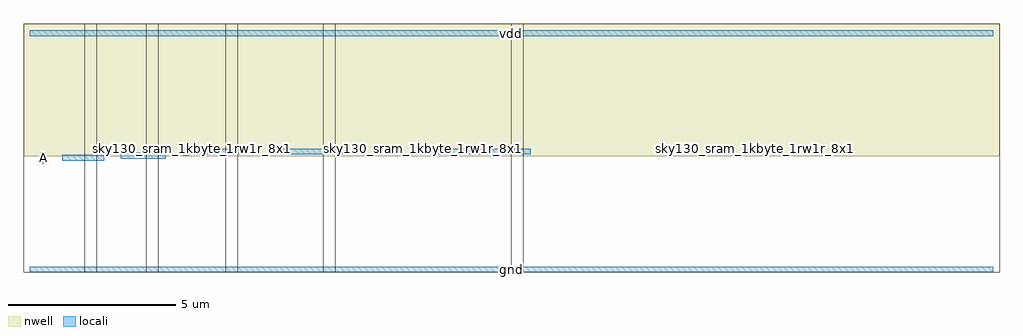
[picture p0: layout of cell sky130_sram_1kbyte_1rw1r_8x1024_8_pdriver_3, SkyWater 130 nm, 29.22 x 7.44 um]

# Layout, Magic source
magic
tech sky130A
magscale 1 2
<< nwell >>
rect -36 679 5808 1471
<< locali >>
rect 0 1397 5772 1431
rect 64 636 98 702
rect 196 652 449 686
rect 547 664 817 698
rect 919 690 1293 724
rect 1518 690 1877 724
rect 2320 690 3001 724
rect 4291 690 4325 724
rect 919 681 953 690
rect 0 -17 5772 17
use sky130_sram_1kbyte_1rw1r_8x1024_8_pinv_13  sky130_sram_1kbyte_1rw1r_8x1024_8_pinv_13_0
transform 1 0 2920 0 1 0
box -36 -17 2888 1471
use sky130_sram_1kbyte_1rw1r_8x1024_8_pinv_12  sky130_sram_1kbyte_1rw1r_8x1024_8_pinv_12_0
transform 1 0 1796 0 1 0
box -36 -17 1160 1471
use sky130_sram_1kbyte_1rw1r_8x1024_8_pinv_11  sky130_sram_1kbyte_1rw1r_8x1024_8_pinv_11_0
transform 1 0 1212 0 1 0
box -36 -17 620 1471
use sky130_sram_1kbyte_1rw1r_8x1024_8_pinv_10  sky130_sram_1kbyte_1rw1r_8x1024_8_pinv_10_0
transform 1 0 736 0 1 0
box -36 -17 512 1471
use sky130_sram_1kbyte_1rw1r_8x1024_8_pinv_0  sky130_sram_1kbyte_1rw1r_8x1024_8_pinv_0_0
transform 1 0 368 0 1 0
box -36 -17 404 1471
use sky130_sram_1kbyte_1rw1r_8x1024_8_pinv_0  sky130_sram_1kbyte_1rw1r_8x1024_8_pinv_0_1
transform 1 0 0 0 1 0
box -36 -17 404 1471
<< labels >>
rlabel locali s 4308 707 4308 707 4 Z
port 1 nsew
rlabel locali s 81 669 81 669 4 A
port 2 nsew
rlabel locali s 2886 0 2886 0 4 gnd
port 3 nsew
rlabel locali s 2886 1414 2886 1414 4 vdd
port 4 nsew
<< properties >>
string FIXED_BBOX 0 0 5772 1414
string GDS_FILE $PDKPATH/libs.ref/sky130_sram_macros/gds/sky130_sram_1kbyte_1rw1r_8x1024_8.gds
string GDS_END 6092686
string GDS_START 6090922
<< end >>
